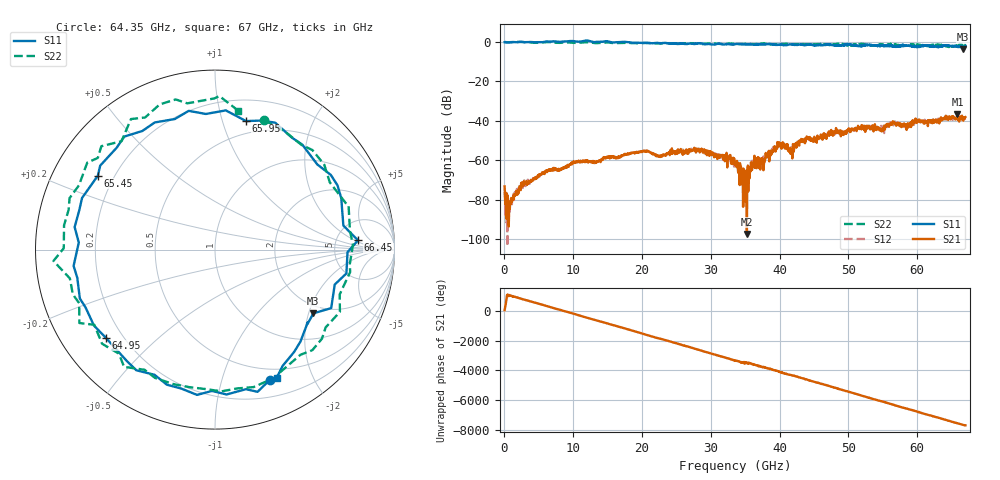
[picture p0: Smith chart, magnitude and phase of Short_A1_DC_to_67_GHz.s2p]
#  HZ  S  MA  R  50.00
! Rohde & Schwarz ZVA67 4Ports - Version 4.11 - 1305.7002k04 SN: 101051
! Date: 2023-05-31 14:21:40
! Measurements: S11 S21 S12 S22
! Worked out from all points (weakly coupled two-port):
!   1340 points, 50 MHz to 67 GHz, reference 50 ohm
!   highest |S21| = -36.62 dB at 65.85 GHz (marker M1); lowest = -97.3 dB at 35.25 GHz (marker M2)
!   lowest |S11| = -3.7 dB at 66.7 GHz (marker M3), VSWR 4.77, Z = 86.7 - j107 ohm
!   |S11| at or under -10 dB: nowhere
!   |S22| runs from -2.6 to 0.1 dB; largest |S21 - S12| = 0.0075
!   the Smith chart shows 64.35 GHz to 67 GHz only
!   S11 on the Smith chart (normalised r, x): 64.35 GHz: 0.37, -1.43; 64.95 GHz: 0.14, -0.35; 65.45 GHz: 0.14, +0.28; 65.95 GHz: 0.38, +1.20; 66.45 GHz: 8.25, +2.36; 67 GHz: 0.39, -1.52
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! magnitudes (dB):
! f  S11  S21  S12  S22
! 50 MHz  -0.1  -73.2  -76.1  0.1
! 950 MHz  -0.2  -82.1  -79.7  -0.1
! 6.2 GHz  0.2  -66.0  -65.3  -0.1
! 11.25 GHz  0.3  -60.9  -60.5  -0.3
! 20.4 GHz  -0.4  -55.4  -55.1  -0.5
! 22.4 GHz  -0.5  -58.1  -57.5  -0.8
! 28.35 GHz  -0.7  -54.5  -55.1  -1.0
! 33.55 GHz  -1.1  -62.4  -62.5  -1.0
! 35.25 GHz  -1.2  -97.3  -71.1  -1.0
! 36.3 GHz  -1.4  -60.3  -63.4  -1.2
! 39.85 GHz  -1.4  -52.9  -52.2  -1.3
! 41.55 GHz  -1.2  -53.7  -54.3  -1.1
! 44.7 GHz  -1.5  -50.2  -49.2  -1.2
! 55.85 GHz  -2.0  -41.9  -41.8  -1.2
! 64.35 GHz  -2.1  -39.0  -38.0  -2.3
! 64.95 GHz  -2.1  -38.4  -38.8  -2.6
! 65.45 GHz  -2.2  -38.7  -38.4  -2.0
! 65.85 GHz  -2.4  -36.6  -38.4  -1.7
! 65.95 GHz  -2.7  -39.8  -38.4  -1.3
! 66.45 GHz  -2.0  -37.8  -38.4  -1.3
! 66.7 GHz  -3.7  -39.8  -38.7  -1.6
! 67 GHz  -2.0  -38.1  -38.6  -2.1
